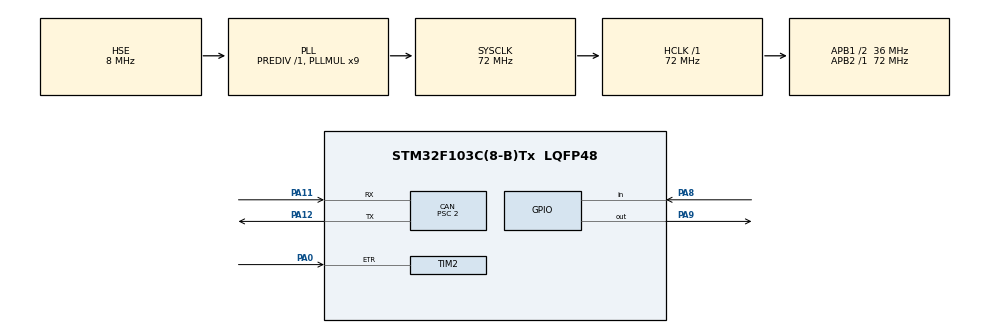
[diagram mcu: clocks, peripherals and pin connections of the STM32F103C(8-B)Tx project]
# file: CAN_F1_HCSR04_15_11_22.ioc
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CAN.ABOM=ENABLE
CAN.BS1=CAN_BS1_15TQ
CAN.BS2=CAN_BS2_2TQ
CAN.CalculateBaudRate=1000000
CAN.CalculateTimeBit=1000
CAN.CalculateTimeQuantum=55.55555555555556
CAN.NART=ENABLE
CAN.Prescaler=2
Mcu.Family=STM32F1
Mcu.Name=STM32F103C(8-B)Tx
Mcu.Package=LQFP48
NVIC.CAN1_RX1_IRQn=true\:0\:0\:false\:false\:true\:true\:true\:true
NVIC.CAN1_SCE_IRQn=true\:0\:0\:false\:false\:true\:true\:true\:true
NVIC.PriorityGroup=NVIC_PRIORITYGROUP_4
NVIC.TIM2_IRQn=true\:0\:0\:false\:false\:true\:true\:true\:true
NVIC.USB_HP_CAN1_TX_IRQn=true\:0\:0\:false\:false\:true\:true\:true\:true
NVIC.USB_LP_CAN1_RX0_IRQn=true\:0\:0\:false\:false\:true\:true\:true\:true
PA0-WKUP.Signal=S_TIM2_CH1_ETR
PA11.Mode=CAN_Activate
PA11.Signal=CAN_RX
PA12.Mode=CAN_Activate
PA12.Signal=CAN_TX
PA13.Mode=Serial_Wire
PA13.Signal=SYS_JTMS-SWDIO
PA14.Mode=Serial_Wire
PA14.Signal=SYS_JTCK-SWCLK
PA8.Signal=GPIO_Input
PA9.Signal=GPIO_Output
PD0-OSC_IN.Mode=HSE-External-Oscillator
PD0-OSC_IN.Signal=RCC_OSC_IN
PD1-OSC_OUT.Mode=HSE-External-Oscillator
PD1-OSC_OUT.Signal=RCC_OSC_OUT
ProjectManager.HeapSize=0x200
ProjectManager.StackSize=0x400
ProjectManager.TargetToolchain=EWARM V8.32
RCC.AHBFreq_Value=72000000
RCC.APB1CLKDivider=RCC_HCLK_DIV2
RCC.APB1Freq_Value=36000000
RCC.APB1TimFreq_Value=72000000
RCC.APB2Freq_Value=72000000
RCC.APB2TimFreq_Value=72000000
RCC.HCLKFreq_Value=72000000
RCC.PLLMUL=RCC_PLL_MUL9
RCC.PLLSourceVirtual=RCC_PLLSOURCE_HSE
RCC.SYSCLKFreq_VALUE=72000000
RCC.SYSCLKSource=RCC_SYSCLKSOURCE_PLLCLK
RCC.USBFreq_Value=72000000
SH.S_TIM2_CH1_ETR.0=TIM2_ETR,ClockSourceETR_Mode2
TIM1.Prescaler=71
TIM2.Period=65535-1
TIM2.Prescaler=72-1
VP_TIM1_VS_ClockSourceINT.Mode=Internal
board=custom

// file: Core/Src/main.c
/* USER CODE BEGIN Header */
/**
  ******************************************************************************
  * @file           : main.c
  * @brief          : Main program body
  ******************************************************************************
  * @attention
  *
  * Copyright (c) 2022 STMicroelectronics.
  * All rights reserved.
  *
  * This software is licensed under terms that can be found in the LICENSE file
  * in the root directory of this software component.
  * If no LICENSE file comes with this software, it is provided AS-IS.
  *
  ******************************************************************************
  */
/* USER CODE END Header */
#include "main.h"

CAN_TxHeaderTypeDef TxHeader;
uint32_t TxMailbox;
CAN_RxHeaderTypeDef RxHeader;

/* USER CODE BEGIN PM */
#define TRIG_PIN GPIO_PIN_9
#define TRIG_PORT GPIOA
#define ECHO_PIN GPIO_PIN_8
#define ECHO_PORT GPIOA
uint32_t pMillis;
uint32_t Value1 = 0;
uint32_t Value2 = 0;
uint16_t Distance  = 0;  // cm
/* USER CODE END PM */
uint8_t Flag = 0;

uint8_t Command_Case1[8U] = "_Default";
uint8_t Command_Case2[8U] = "_Parking";
uint8_t Command_Case3[8U] = "Database";

 CAN_HandleTypeDef hcan;

TIM_HandleTypeDef htim1;
TIM_HandleTypeDef htim2;

/* USER CODE BEGIN PV */
uint8_t TxData[8U];
uint8_t RxData[8U];
/* USER CODE END PV */

void SystemClock_Config(void);
static void MX_GPIO_Init(void);

static void MX_CAN_Init(void);
void CAN_Filter_Config(void);

static void MX_TIM1_Init(void);
static void MX_TIM2_Init(void);
uint8_t check_command(uint8_t *command,uint8_t *compare_command)
{
  int i = 0;
  uint8_t retval = 1U;
  while((command[i] == compare_command[i])&& (i < 8U))
  {
    i ++;
  }
  if (i < 7U)
  {
    retval = 0U;
  }
  return retval;
}
/* USER CODE BEGIN 0 */
void HAL_TIM_PeriodElapsedCallback(TIM_HandleTypeDef *htim)
{
  if (htim->Instance == htim2.Instance)
  {
    Flag = 1;
  }
}
/* USER CODE END 0 */

void HAL_CAN_RxFifo0MsgPendingCallback(CAN_HandleTypeDef *hcan1)
{
    if (hcan1->Instance == hcan.Instance)
    {
      if (HAL_OK != HAL_CAN_GetRxMessage(hcan1,CAN_RX_FIFO0,&RxHeader,RxData))
      {
            Error_Handler();
      }
      else
      {

        if (RxHeader.StdId == 0x446)
        {
            if (1U == check_command(RxData,Command_Case1))
            {
              HAL_TIM_Base_Start_IT(&htim2);
            }
            else if (1U == check_command(RxData,Command_Case2))
            {
              HAL_TIM_Base_Stop_IT(&htim2);
            }
            else if (1U == check_command(RxData,Command_Case3))
            {
              HAL_TIM_Base_Stop_IT(&htim2);
            }
            else
            {
              /* normally working */
            }
        }
      }
    }
}
int main(void)
{

  /* MCU Configuration--------------------------------------------------------*/

  /* Reset of all peripherals, Initializes the Flash interface and the Systick. */
  HAL_Init();

  /* Configure the system clock */
  SystemClock_Config();

  /* Initialize all configured peripherals */
  MX_GPIO_Init();
  MX_CAN_Init();
  CAN_Filter_Config();
//    if (HAL_OK != HAL_CAN_Start(&hcan))
//  {
//    Error_Handler();
//  }
//
//  if (HAL_OK != HAL_CAN_ActivateNotification(&hcan,CAN_IT_RX_FIFO0_MSG_PENDING))
//  {
//    Error_Handler();
//  }
      TxHeader.DLC = 8;
    TxHeader.IDE = CAN_ID_STD;
    TxHeader.RTR = CAN_RTR_DATA;
    TxHeader.StdId = 0x103;
  MX_TIM1_Init();
  MX_TIM2_Init();
  /* USER CODE BEGIN 2 */
  HAL_TIM_Base_Start(&htim1);
  HAL_TIM_Base_Start_IT(&htim2);
  HAL_GPIO_WritePin(TRIG_PORT, TRIG_PIN, GPIO_PIN_RESET);
  /* USER CODE END 2 */

  /* Infinite loop */
  /* USER CODE BEGIN WHILE */
  while (1)
  {
//    if (Flag == 1)
//    {
      /* USER CODE END WHILE */
      HAL_GPIO_WritePin(TRIG_PORT, TRIG_PIN, GPIO_PIN_SET);  // pull the TRIG pin HIGH
      __HAL_TIM_SET_COUNTER(&htim1, 0);
      while (__HAL_TIM_GET_COUNTER (&htim1) < 10);  // wait for 10 us
      HAL_GPIO_WritePin(TRIG_PORT, TRIG_PIN, GPIO_PIN_RESET);  // pull the TRIG pin low

      pMillis = HAL_GetTick(); // used this to avoid infinite while loop  (for timeout)
      // wait for the echo pin to go high
      while (!(HAL_GPIO_ReadPin (ECHO_PORT, ECHO_PIN)) && pMillis + 10 >  HAL_GetTick());
      Value1 = __HAL_TIM_GET_COUNTER (&htim1);

      pMillis = HAL_GetTick(); // used this to avoid infinite while loop (for timeout)
      // wait for the echo pin to go low
      while ((HAL_GPIO_ReadPin (ECHO_PORT, ECHO_PIN)) && pMillis + 50 > HAL_GetTick());
      Value2 = __HAL_TIM_GET_COUNTER (&htim1);

      Distance = (Value2-Value1)* 0.034/2;
      //HAL_Delay(50);

     TxData[0] = '7';
     TxData[1] = '.';
     TxData[2] = '0';
     TxData[3] = '0';
     TxData[4] = '0' + (uint8_t)Distance/ 100;
     TxData[5] = '0' + ((uint8_t)Distance % 100)/10;
     TxData[6] = '0' + (uint8_t)Distance% 10;
     TxData[7] = '\n';
//
//      HAL_CAN_AddTxMessage(&hcan,&TxHeader,TxData,&TxMailbox);
//      Flag = 0;
//    }

  }
}

void SystemClock_Config(void)
{
  RCC_OscInitTypeDef RCC_OscInitStruct = {0};
  RCC_ClkInitTypeDef RCC_ClkInitStruct = {0};

  /** Initializes the RCC Oscillators according to the specified parameters
  * in the RCC_OscInitTypeDef structure.
  */
  RCC_OscInitStruct.OscillatorType = RCC_OSCILLATORTYPE_HSE;
  RCC_OscInitStruct.HSEState = RCC_HSE_ON;
  RCC_OscInitStruct.HSEPredivValue = RCC_HSE_PREDIV_DIV1;
  RCC_OscInitStruct.HSIState = RCC_HSI_ON;
  RCC_OscInitStruct.PLL.PLLState = RCC_PLL_ON;
  RCC_OscInitStruct.PLL.PLLSource = RCC_PLLSOURCE_HSE;
  RCC_OscInitStruct.PLL.PLLMUL = RCC_PLL_MUL9;
  if (HAL_RCC_OscConfig(&RCC_OscInitStruct) != HAL_OK)
  {
    Error_Handler();
  }

  /** Initializes the CPU, AHB and APB buses clocks
  */
  RCC_ClkInitStruct.ClockType = RCC_CLOCKTYPE_HCLK|RCC_CLOCKTYPE_SYSCLK
                              |RCC_CLOCKTYPE_PCLK1|RCC_CLOCKTYPE_PCLK2;
  RCC_ClkInitStruct.SYSCLKSource = RCC_SYSCLKSOURCE_PLLCLK;
  RCC_ClkInitStruct.AHBCLKDivider = RCC_SYSCLK_DIV1;
  RCC_ClkInitStruct.APB1CLKDivider = RCC_HCLK_DIV2;
  RCC_ClkInitStruct.APB2CLKDivider = RCC_HCLK_DIV1;

  if (HAL_RCC_ClockConfig(&RCC_ClkInitStruct, FLASH_LATENCY_2) != HAL_OK)
  {
    Error_Handler();
  }
}

static void MX_CAN_Init(void)
{

  hcan.Instance = CAN1;
  hcan.Init.Prescaler = 2;
  hcan.Init.Mode = CAN_MODE_NORMAL;
  hcan.Init.SyncJumpWidth = CAN_SJW_1TQ;
  hcan.Init.TimeSeg1 = CAN_BS1_15TQ;
  hcan.Init.TimeSeg2 = CAN_BS2_2TQ;
  hcan.Init.TimeTriggeredMode = DISABLE;
  hcan.Init.AutoBusOff = ENABLE;
  hcan.Init.AutoWakeUp = DISABLE;
  hcan.Init.AutoRetransmission = ENABLE;
  hcan.Init.ReceiveFifoLocked = DISABLE;
  hcan.Init.TransmitFifoPriority = DISABLE;
  if (HAL_CAN_Init(&hcan) != HAL_OK)
  {
    Error_Handler();
  }

}

void CAN_Filter_Config(void)
{
  CAN_FilterTypeDef can1_filter_init;

  can1_filter_init.FilterActivation = ENABLE;
  can1_filter_init.FilterBank  = 0;
  can1_filter_init.FilterFIFOAssignment = CAN_FILTER_FIFO0;
  can1_filter_init.FilterIdHigh = (0X446)<<5;
  can1_filter_init.FilterIdLow = 0x0000;
  can1_filter_init.FilterMaskIdHigh = (0X651)<<5;
  can1_filter_init.FilterMaskIdLow = 0x0000;
  can1_filter_init.FilterMode = CAN_FILTERMODE_IDLIST;
  can1_filter_init.FilterScale = CAN_FILTERSCALE_32BIT;
  //can1_filter_init.SlaveStartFilterBank = 0; /* doesn't mastter in signel can controller */

  if( HAL_CAN_ConfigFilter(&hcan,&can1_filter_init) != HAL_OK)
  {
    Error_Handler();
  }
}

static void MX_TIM1_Init(void)
{

  TIM_ClockConfigTypeDef sClockSourceConfig = {0};
  TIM_MasterConfigTypeDef sMasterConfig = {0};

  htim1.Instance = TIM1;
  htim1.Init.Prescaler = 71;
  htim1.Init.CounterMode = TIM_COUNTERMODE_UP;
  htim1.Init.Period = 65535;
  htim1.Init.ClockDivision = TIM_CLOCKDIVISION_DIV1;
  htim1.Init.RepetitionCounter = 0;
  htim1.Init.AutoReloadPreload = TIM_AUTORELOAD_PRELOAD_DISABLE;
  if (HAL_TIM_Base_Init(&htim1) != HAL_OK)
  {
    Error_Handler();
  }
  sClockSourceConfig.ClockSource = TIM_CLOCKSOURCE_INTERNAL;
  if (HAL_TIM_ConfigClockSource(&htim1, &sClockSourceConfig) != HAL_OK)
  {
    Error_Handler();
  }
  sMasterConfig.MasterOutputTrigger = TIM_TRGO_RESET;
  sMasterConfig.MasterSlaveMode = TIM_MASTERSLAVEMODE_DISABLE;
  if (HAL_TIMEx_MasterConfigSynchronization(&htim1, &sMasterConfig) != HAL_OK)
  {
    Error_Handler();
  }

}

static void MX_TIM2_Init(void)
{

  TIM_ClockConfigTypeDef sClockSourceConfig = {0};
  TIM_MasterConfigTypeDef sMasterConfig = {0};

  htim2.Instance = TIM2;
  htim2.Init.Prescaler = 7200-1;
  htim2.Init.CounterMode = TIM_COUNTERMODE_UP;
  htim2.Init.Period = 10000-1;
  htim2.Init.ClockDivision = TIM_CLOCKDIVISION_DIV1;
  htim2.Init.AutoReloadPreload = TIM_AUTORELOAD_PRELOAD_DISABLE;
  if (HAL_TIM_Base_Init(&htim2) != HAL_OK)
  {
    Error_Handler();
  }
  sClockSourceConfig.ClockSource = TIM_CLOCKSOURCE_ETRMODE2;
  sClockSourceConfig.ClockPolarity = TIM_CLOCKPOLARITY_NONINVERTED;
  sClockSourceConfig.ClockPrescaler = TIM_CLOCKPRESCALER_DIV1;
  sClockSourceConfig.ClockFilter = 0;
  if (HAL_TIM_ConfigClockSource(&htim2, &sClockSourceConfig) != HAL_OK)
  {
    Error_Handler();
  }
  sMasterConfig.MasterOutputTrigger = TIM_TRGO_RESET;
  sMasterConfig.MasterSlaveMode = TIM_MASTERSLAVEMODE_DISABLE;
  if (HAL_TIMEx_MasterConfigSynchronization(&htim2, &sMasterConfig) != HAL_OK)
  {
    Error_Handler();
  }

}

static void MX_GPIO_Init(void)
{
  GPIO_InitTypeDef GPIO_InitStruct = {0};

  /* GPIO Ports Clock Enable */
  __HAL_RCC_GPIOD_CLK_ENABLE();
  __HAL_RCC_GPIOA_CLK_ENABLE();

  /*Configure GPIO pin Output Level */
  HAL_GPIO_WritePin(GPIOA, GPIO_PIN_9, GPIO_PIN_RESET);

  /*Configure GPIO pin : PA8 */
  GPIO_InitStruct.Pin = GPIO_PIN_8;
  GPIO_InitStruct.Mode = GPIO_MODE_INPUT;
  GPIO_InitStruct.Pull = GPIO_NOPULL;
  HAL_GPIO_Init(GPIOA, &GPIO_InitStruct);

  /*Configure GPIO pin : PA9 */
  GPIO_InitStruct.Pin = GPIO_PIN_9;
  GPIO_InitStruct.Mode = GPIO_MODE_OUTPUT_PP;
  GPIO_InitStruct.Pull = GPIO_NOPULL;
  GPIO_InitStruct.Speed = GPIO_SPEED_FREQ_LOW;
  HAL_GPIO_Init(GPIOA, &GPIO_InitStruct);

}

void Error_Handler(void)
{
  __disable_irq();
  while (1)
  {
  }
}
